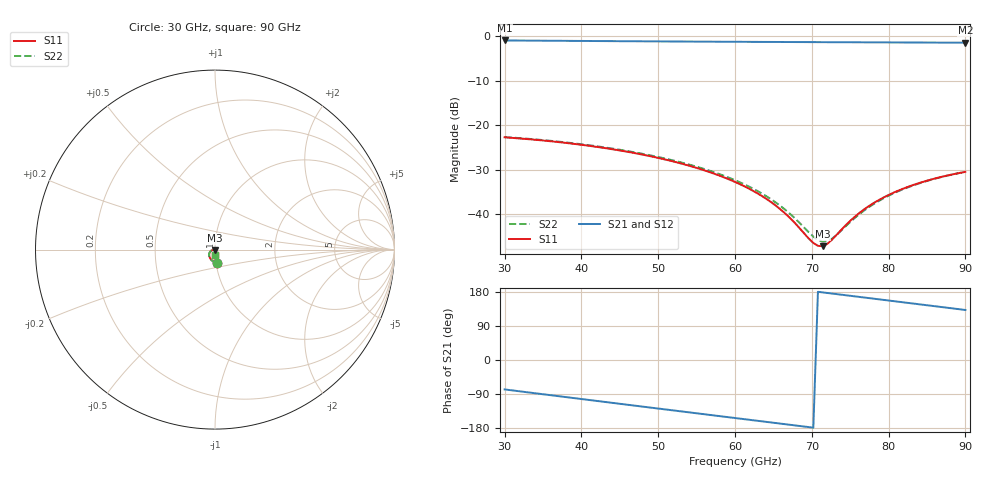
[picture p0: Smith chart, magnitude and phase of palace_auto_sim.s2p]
#  GHZ S DB R 50
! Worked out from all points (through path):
!   101 points, 30 GHz to 90 GHz, reference 50 ohm
!   highest |S21| = -0.96 dB at 30 GHz (marker M1); lowest = -1.5 dB at 90 GHz (marker M2)
!   group delay of S21, straight-line fit = 6.95 ps
!   lowest |S11| = -47.2 dB at 71.4 GHz (marker M3), VSWR 1.01, Z = 49.8 - j0.408 ohm
!   |S11| at or under -10 dB: start of sweep to end of sweep
!   |S22| runs from -46.1 to -22.6 dB; largest |S21 - S12| = 9.9e-14
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30  -22.72 -81.0  -0.96 -77.7  -0.96 -77.7  -22.65 -81.0
34.8  -23.39 -95.2  -1.02 -89.8  -1.02 -89.8  -23.30 -95.2
40.2  -24.44 -111.0  -1.08 -103.5  -1.08 -103.5  -24.31 -110.9
45  -25.66 -124.8  -1.13 -115.5  -1.13 -115.5  -25.50 -124.6
50.4  -27.49 -139.7  -1.18 -129.1  -1.18 -129.1  -27.28 -139.4
55.8  -30.01 -153.7  -1.23 -142.6  -1.23 -142.6  -29.72 -153.2
60  -32.73 -163.0  -1.26 -153.1  -1.26 -153.1  -32.33 -162.4
63  -35.37 -167.8  -1.29 -160.6  -1.29 -160.6  -34.84 -167.0
65.4  -38.17 -168.9  -1.30 -166.6  -1.30 -166.6  -37.45 -168.2
67.2  -40.90 -165.8  -1.32 -171.1  -1.32 -171.1  -39.95 -165.6
70.2  -46.44 -136.9  -1.34 -178.6  -1.34 -178.6  -45.00 -142.3
70.8  -47.08 -124.6  -1.34 179.9  -1.34 179.9  -45.76 -132.4
71.4  -47.15 -111.1  -1.35 178.4  -1.35 178.4  -46.14 -120.8
72  -46.65 -98.4  -1.35 176.9  -1.35 176.9  -46.04 -108.9
72.6  -45.75 -88.1  -1.35 175.4  -1.35 175.4  -45.50 -98.1
74.4  -42.47 -70.8  -1.37 171.0  -1.37 171.0  -42.70 -77.4
76.2  -39.69 -65.3  -1.38 166.5  -1.38 166.5  -39.96 -69.6
78  -37.53 -64.6  -1.39 162.0  -1.39 162.0  -37.75 -67.6
80.4  -35.33 -66.9  -1.40 156.0  -1.40 156.0  -35.49 -69.0
82.2  -34.04 -69.9  -1.42 151.5  -1.42 151.5  -34.16 -71.5
84.6  -32.65 -74.6  -1.43 145.5  -1.43 145.5  -32.72 -75.8
90  -30.47 -86.9  -1.47 132.0  -1.47 132.0  -30.46 -87.5
